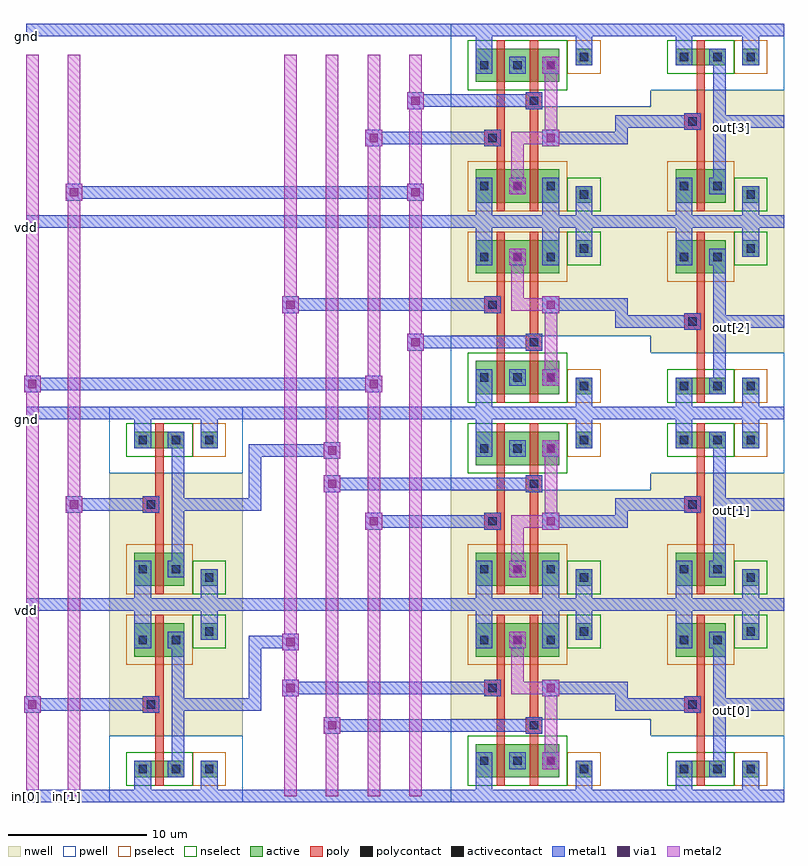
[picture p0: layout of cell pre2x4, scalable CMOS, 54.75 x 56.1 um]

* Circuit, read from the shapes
.subckt pre2x4 gnd in[0] in[1] out[0] out[1] out[2] out[3] vdd
M1 pnand2_3_32/A in[0] gnd gnd nfet w=1.2u l=0.6u
M2 pnand2_3_32/B in[1] gnd gnd nfet w=1.2u l=0.6u
M3 pnand2_3_32/nmos_m1_w2_4_a_p_13/D pnand2_3_32/A gnd gnd nfet w=2.4u l=0.6u
M4 pnand2_3_33/nmos_m1_w2_4_a_p_13/D in[0] gnd gnd nfet w=2.4u l=0.6u
M5 pnand2_3_34/nmos_m1_w2_4_a_p_13/D pnand2_3_32/A gnd gnd nfet w=2.4u l=0.6u
M6 pnand2_3_35/nmos_m1_w2_4_a_p_13/D in[0] gnd gnd nfet w=2.4u l=0.6u
M7 pinv_9_2/A pnand2_3_32/B pnand2_3_32/nmos_m1_w2_4_a_p_13/D gnd nfet w=2.4u l=0.6u
M8 pinv_9_29/A pnand2_3_32/B pnand2_3_33/nmos_m1_w2_4_a_p_13/D gnd nfet w=2.4u l=0.6u
M9 pinv_9_30/A in[1] pnand2_3_34/nmos_m1_w2_4_a_p_13/D gnd nfet w=2.4u l=0.6u
M10 pinv_9_31/A in[1] pnand2_3_35/nmos_m1_w2_4_a_p_13/D gnd nfet w=2.4u l=0.6u
M11 out[0] pinv_9_2/A gnd gnd nfet w=1.2u l=0.6u
M12 out[1] pinv_9_29/A gnd gnd nfet w=1.2u l=0.6u
M13 out[2] pinv_9_30/A gnd gnd nfet w=1.2u l=0.6u
M14 out[3] pinv_9_31/A gnd gnd nfet w=1.2u l=0.6u
M15 pnand2_3_32/A in[0] vdd vdd pfet w=2.4u l=0.6u
M16 pnand2_3_32/B in[1] vdd vdd pfet w=2.4u l=0.6u
M17 pinv_9_2/A pnand2_3_32/A vdd vdd pfet w=2.4u l=0.6u
M18 pinv_9_29/A in[0] vdd vdd pfet w=2.4u l=0.6u
M19 pinv_9_30/A pnand2_3_32/A vdd vdd pfet w=2.4u l=0.6u
M20 pinv_9_31/A in[0] vdd vdd pfet w=2.4u l=0.6u
M21 vdd pnand2_3_32/B pinv_9_2/A vdd pfet w=2.4u l=0.6u
M22 vdd pnand2_3_32/B pinv_9_29/A vdd pfet w=2.4u l=0.6u
M23 vdd in[1] pinv_9_30/A vdd pfet w=2.4u l=0.6u
M24 vdd in[1] pinv_9_31/A vdd pfet w=2.4u l=0.6u
M25 out[0] pinv_9_2/A vdd vdd pfet w=2.4u l=0.6u
M26 out[1] pinv_9_29/A vdd vdd pfet w=2.4u l=0.6u
M27 out[2] pinv_9_30/A vdd vdd pfet w=2.4u l=0.6u
M28 out[3] pinv_9_31/A vdd vdd pfet w=2.4u l=0.6u
.ends

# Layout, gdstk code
from math import pi, radians
import gdstk
lib = gdstk.Library(unit=1e-6, precision=1e-09)
def R(c, l, rs):  # rectangles x0, y0, x1, y1
    for r in rs: c.add(gdstk.rectangle(r[:2], r[2:], *l))
pwell = (41, 0)
nwell = (42, 0)
active = (43, 0)
pselect = (44, 0)
nselect = (45, 0)
poly = (46, 0)
polycontact = (47, 0)
activecontact = (48, 0)
metal1 = (49, 0)
via1 = (50, 0)
metal2 = (51, 0)

active_contact_metal1_1x = lib.new_cell('active_contact_metal1_1x1_pn')
R(active_contact_metal1_1x, nwell, [(-1.8,-1.8,3,3), (-1.8,-1.8,3,3)])
R(active_contact_metal1_1x, active, [(0,0,1.2,1.2), (0,0,1.2,1.2)])
R(active_contact_metal1_1x, pselect, [(-0.6,-0.6,1.8,1.8), (-0.6,-0.6,1.8,1.8)])
R(active_contact_metal1_1x, activecontact, [(0.3,0.3,0.9,0.9), (0.3,0.3,0.9,0.9)])
R(active_contact_metal1_1x, metal1, [(0,0,1.2,1.2), (0,0,1.2,1.2)])

pmos_m1_w2_4_a_p = lib.new_cell('pmos_m1_w2_4_a_p')
R(pmos_m1_w2_4_a_p, nwell, [(-1.8,-1.8,5.4,4.2), (-1.8,-1.8,5.4,4.2)])
R(pmos_m1_w2_4_a_p, active, [(0,0,3.6,2.4), (0,0,3.6,2.4)])
R(pmos_m1_w2_4_a_p, pselect, [(-0.6,-0.6,4.2,3), (-0.6,-0.6,4.2,3)])
R(pmos_m1_w2_4_a_p, poly, [(1.5,-0.6,2.1,3), (1.5,-0.6,2.1,3), (1.5,-0.6,2.1,3), (1.5,-0.6,2.1,3)])
R(pmos_m1_w2_4_a_p, metal1, [(0,0.6,1.2,1.8), (0,0.6,1.2,1.8), (2.4,0.6,3.6,1.8), (2.4,0.6,3.6,1.8)])
pmos_m1_w2_4_a_p.add(gdstk.Reference(active_contact_metal1_1x, (0,0.6)))
pmos_m1_w2_4_a_p.add(gdstk.Reference(active_contact_metal1_1x, (2.4,0.6)))
pmos_m1_w2_4_a_p.add(gdstk.Reference(active_contact_metal1_1x, (0,0.6)))
pmos_m1_w2_4_a_p.add(gdstk.Reference(active_contact_metal1_1x, (2.4,0.6)))
pmos_m1_w2_4_a_p.add(gdstk.Label('S', (0,0.6), layer=49, texttype=0))
pmos_m1_w2_4_a_p.add(gdstk.Label('D', (2.4,0.6), layer=49, texttype=0))
pmos_m1_w2_4_a_p.add(gdstk.Label('G', (1.5,-0.6), layer=46, texttype=0))
pmos_m1_w2_4_a_p.add(gdstk.Label('S', (0,0.6), layer=49, texttype=0))
pmos_m1_w2_4_a_p.add(gdstk.Label('D', (2.4,0.6), layer=49, texttype=0))
pmos_m1_w2_4_a_p.add(gdstk.Label('G', (1.5,-0.6), layer=46, texttype=0))

c_active_contact_metal1_1x = lib.new_cell('active_contact_metal1_1x1_np')
R(c_active_contact_metal1_1x, pwell, [(-1.8,-1.8,3,3)])
R(c_active_contact_metal1_1x, active, [(0,0,1.2,1.2)])
R(c_active_contact_metal1_1x, nselect, [(-0.6,-0.6,1.8,1.8)])
R(c_active_contact_metal1_1x, activecontact, [(0.3,0.3,0.9,0.9)])
R(c_active_contact_metal1_1x, metal1, [(0,0,1.2,1.2)])

nmos_m1_w1_2_a_p = lib.new_cell('nmos_m1_w1_2_a_p')
R(nmos_m1_w1_2_a_p, pwell, [(-1.8,-1.8,5.4,3), (-1.8,-1.8,5.4,3)])
R(nmos_m1_w1_2_a_p, active, [(0,0,3.6,1.2), (0,0,3.6,1.2)])
R(nmos_m1_w1_2_a_p, nselect, [(-0.6,-0.6,4.2,1.8), (-0.6,-0.6,4.2,1.8)])
R(nmos_m1_w1_2_a_p, poly, [(1.5,-0.6,2.1,1.8), (1.5,-0.6,2.1,1.8), (1.5,-0.6,2.1,1.8), (1.5,-0.6,2.1,1.8)])
R(nmos_m1_w1_2_a_p, metal1, [(0,0,1.2,1.2), (0,0,1.2,1.2), (2.4,0,3.6,1.2), (2.4,0,3.6,1.2)])
nmos_m1_w1_2_a_p.add(gdstk.Reference(c_active_contact_metal1_1x, (0,0)))
nmos_m1_w1_2_a_p.add(gdstk.Reference(c_active_contact_metal1_1x, (2.4,0)))
nmos_m1_w1_2_a_p.add(gdstk.Reference(c_active_contact_metal1_1x, (0,0)))
nmos_m1_w1_2_a_p.add(gdstk.Reference(c_active_contact_metal1_1x, (2.4,0)))
nmos_m1_w1_2_a_p.add(gdstk.Label('S', (0,0), layer=49, texttype=0))
nmos_m1_w1_2_a_p.add(gdstk.Label('D', (2.4,0), layer=49, texttype=0))
nmos_m1_w1_2_a_p.add(gdstk.Label('G', (1.5,-0.6), layer=46, texttype=0))
nmos_m1_w1_2_a_p.add(gdstk.Label('S', (0,0), layer=49, texttype=0))
nmos_m1_w1_2_a_p.add(gdstk.Label('D', (2.4,0), layer=49, texttype=0))
nmos_m1_w1_2_a_p.add(gdstk.Label('G', (1.5,-0.6), layer=46, texttype=0))

c_active_contact_metal1_1x_ = lib.new_cell('active_contact_metal1_1x1_nn')
R(c_active_contact_metal1_1x_, nwell, [(-1.8,-1.8,3,3), (-1.8,-1.8,3,3)])
R(c_active_contact_metal1_1x_, active, [(0,0,1.2,1.2), (0,0,1.2,1.2)])
R(c_active_contact_metal1_1x_, nselect, [(-0.6,-0.6,1.8,1.8), (-0.6,-0.6,1.8,1.8)])
R(c_active_contact_metal1_1x_, activecontact, [(0.3,0.3,0.9,0.9), (0.3,0.3,0.9,0.9)])
R(c_active_contact_metal1_1x_, metal1, [(0,0,1.2,1.2), (0,0,1.2,1.2)])

c_active_contact_metal1_1x__ = lib.new_cell('active_contact_metal1_1x1_pp')
R(c_active_contact_metal1_1x__, pwell, [(-1.8,-1.8,3,3)])
R(c_active_contact_metal1_1x__, active, [(0,0,1.2,1.2)])
R(c_active_contact_metal1_1x__, pselect, [(-0.6,-0.6,1.8,1.8)])
R(c_active_contact_metal1_1x__, activecontact, [(0.3,0.3,0.9,0.9)])
R(c_active_contact_metal1_1x__, metal1, [(0,0,1.2,1.2)])

poly_contact_metal1_1x1 = lib.new_cell('poly_contact_metal1_1x1')
R(poly_contact_metal1_1x1, poly, [(0,0,1.2,1.2), (0,0,1.2,1.2)])
R(poly_contact_metal1_1x1, polycontact, [(0.3,0.3,0.9,0.9), (0.3,0.3,0.9,0.9)])
R(poly_contact_metal1_1x1, metal1, [(0,0,1.2,1.2), (0,0,1.2,1.2)])

pinv_9 = lib.new_cell('pinv_9')
R(pinv_9, pwell, [(0,-0.45,9.6,4.35), (0,-0.45,9.6,4.35)])
R(pinv_9, nwell, [(0,4.35,9.6,14.25), (0,4.35,9.6,14.25)])
R(pinv_9, poly, [(3.3,0.75,3.9,9.45), (3.3,0.75,3.9,9.45), (3,6,3.3,7.2), (3,6,3.3,7.2)])
R(pinv_9, metal1, [(0,-0.45,9.6,0.45), (0,-0.45,9.6,0.45), (1.8,-0.45,3,1.35), (1.8,-0.45,3,1.35), (6.6,0,7.8,1.95), (6.6,0,7.8,1.95), (4.5,1.35,5.4,10.65), (4.5,1.35,5.4,10.65), (2.4,6,3.6,7.2), (2.4,6,3.6,7.2), (4.95,6.15,5.85,7.05), (4.95,6.15,5.85,7.05), (1.8,10.65,3,14.25), (1.8,10.65,3,14.25), (6.6,11.85,7.8,13.8), (6.6,11.85,7.8,13.8), (0,13.35,9.6,14.25), (0,13.35,9.6,14.25)])
pinv_9.add(gdstk.Reference(pmos_m1_w2_4_a_p, (1.8,10.05)))
pinv_9.add(gdstk.Reference(nmos_m1_w1_2_a_p, (1.8,1.35)))
pinv_9.add(gdstk.Reference(c_active_contact_metal1_1x_, (6.6,11.25)))
pinv_9.add(gdstk.Reference(c_active_contact_metal1_1x__, (6.6,1.35)))
pinv_9.add(gdstk.Reference(poly_contact_metal1_1x1, (2.4,6)))
pinv_9.add(gdstk.Reference(pmos_m1_w2_4_a_p, (1.8,10.05)))
pinv_9.add(gdstk.Reference(nmos_m1_w1_2_a_p, (1.8,1.35)))
pinv_9.add(gdstk.Reference(c_active_contact_metal1_1x_, (6.6,11.25)))
pinv_9.add(gdstk.Reference(c_active_contact_metal1_1x__, (6.6,1.35)))
pinv_9.add(gdstk.Reference(poly_contact_metal1_1x1, (2.4,6)))
pinv_9.add(gdstk.Label('A', (2.4,6), layer=49, texttype=0))
pinv_9.add(gdstk.Label('Z', (4.95,6.15), layer=49, texttype=0))
pinv_9.add(gdstk.Label('vdd', (0,13.35), layer=49, texttype=0))
pinv_9.add(gdstk.Label('gnd', (0,-0.45), layer=49, texttype=0))
pinv_9.add(gdstk.Label('A', (2.4,6), layer=49, texttype=0))
pinv_9.add(gdstk.Label('Z', (4.95,6.15), layer=49, texttype=0))
pinv_9.add(gdstk.Label('vdd', (0,13.35), layer=49, texttype=0))
pinv_9.add(gdstk.Label('gnd', (0,-0.45), layer=49, texttype=0))

nmos_m1_w2_4_a_p = lib.new_cell('nmos_m1_w2_4_a_p')
R(nmos_m1_w2_4_a_p, pwell, [(-1.8,-1.8,5.4,4.2), (-1.8,-1.8,5.4,4.2)])
R(nmos_m1_w2_4_a_p, active, [(0,0,3.6,2.4), (0,0,3.6,2.4)])
R(nmos_m1_w2_4_a_p, nselect, [(-0.6,-0.6,4.2,3), (-0.6,-0.6,4.2,3)])
R(nmos_m1_w2_4_a_p, poly, [(1.5,-0.6,2.1,3), (1.5,-0.6,2.1,3), (1.5,-0.6,2.1,3), (1.5,-0.6,2.1,3)])
R(nmos_m1_w2_4_a_p, metal1, [(0,0.6,1.2,1.8), (0,0.6,1.2,1.8), (2.4,0.6,3.6,1.8), (2.4,0.6,3.6,1.8)])
nmos_m1_w2_4_a_p.add(gdstk.Reference(c_active_contact_metal1_1x, (0,0.6)))
nmos_m1_w2_4_a_p.add(gdstk.Reference(c_active_contact_metal1_1x, (2.4,0.6)))
nmos_m1_w2_4_a_p.add(gdstk.Reference(c_active_contact_metal1_1x, (0,0.6)))
nmos_m1_w2_4_a_p.add(gdstk.Reference(c_active_contact_metal1_1x, (2.4,0.6)))
nmos_m1_w2_4_a_p.add(gdstk.Label('S', (0,0.6), layer=49, texttype=0))
nmos_m1_w2_4_a_p.add(gdstk.Label('D', (2.4,0.6), layer=49, texttype=0))
nmos_m1_w2_4_a_p.add(gdstk.Label('G', (1.5,-0.6), layer=46, texttype=0))
nmos_m1_w2_4_a_p.add(gdstk.Label('S', (0,0.6), layer=49, texttype=0))
nmos_m1_w2_4_a_p.add(gdstk.Label('D', (2.4,0.6), layer=49, texttype=0))
nmos_m1_w2_4_a_p.add(gdstk.Label('G', (1.5,-0.6), layer=46, texttype=0))

metal1_via1_metal2_1x1 = lib.new_cell('metal1_via1_metal2_1x1')
R(metal1_via1_metal2_1x1, metal1, [(0,0,1.2,1.2), (0,0,1.2,1.2)])
R(metal1_via1_metal2_1x1, via1, [(0.3,0.3,0.9,0.9), (0.3,0.3,0.9,0.9)])
R(metal1_via1_metal2_1x1, metal2, [(0,0,1.2,1.2), (0,0,1.2,1.2)])

pnand2_3 = lib.new_cell('pnand2_3')
R(pnand2_3, pwell, [(0,-0.45,14.4,5.55), (0,-0.45,14.4,5.55)])
R(pnand2_3, nwell, [(0,5.55,14.4,14.25), (0,5.55,14.4,14.25)])
R(pnand2_3, poly, [(3.3,0.75,3.9,9.45), (3.3,0.75,3.9,9.45), (5.7,0.75,6.3,9.45), (5.7,0.75,6.3,9.45), (5.7,4.5,6,5.7), (5.7,4.5,6,5.7), (3,7.2,3.3,8.4), (3,7.2,3.3,8.4)])
R(pnand2_3, metal1, [(0,-0.45,14.4,0.45), (0,-0.45,14.4,0.45), (1.8,-0.45,3,1.95), (1.8,-0.45,3,1.95), (9,0,10.2,1.95), (9,0,10.2,1.95), (5.4,4.5,6.6,5.7), (5.4,4.5,6.6,5.7), (2.4,7.2,3.6,8.4), (2.4,7.2,3.6,8.4), (6.6,7.2,7.8,8.4), (6.6,7.2,7.8,8.4), (1.8,10.65,3,14.25), (1.8,10.65,3,14.25), (6.6,10.65,7.8,14.25), (6.6,10.65,7.8,14.25), (9,11.85,10.2,13.8), (9,11.85,10.2,13.8), (0,13.35,14.4,14.25), (0,13.35,14.4,14.25)])
R(pnand2_3, metal2, [(6.75,3.15,7.65,7.8), (6.75,3.15,7.65,7.8), (4.35,7.35,5.25,8.25), (4.35,7.35,5.25,8.25), (4.8,7.35,7.2,8.25), (4.8,7.35,7.2,8.25), (6.75,7.35,7.65,8.25), (6.75,7.35,7.65,8.25), (4.35,7.8,5.25,10.65), (4.35,7.8,5.25,10.65)])
pnand2_3.add(gdstk.Reference(pmos_m1_w2_4_a_p, (1.8,10.05)))
pnand2_3.add(gdstk.Reference(pmos_m1_w2_4_a_p, (4.2,10.05)))
pnand2_3.add(gdstk.Reference(nmos_m1_w2_4_a_p, (1.8,1.35)))
pnand2_3.add(gdstk.Reference(nmos_m1_w2_4_a_p, (4.2,1.35)))
pnand2_3.add(gdstk.Reference(c_active_contact_metal1_1x_, (9,11.25)))
pnand2_3.add(gdstk.Reference(c_active_contact_metal1_1x__, (9,1.35)))
pnand2_3.add(gdstk.Reference(poly_contact_metal1_1x1, (6.6,4.5), rotation=pi/2))
pnand2_3.add(gdstk.Reference(poly_contact_metal1_1x1, (3.6,7.2), rotation=pi/2))
pnand2_3.add(gdstk.Reference(metal1_via1_metal2_1x1, (4.2,10.65)))
pnand2_3.add(gdstk.Reference(metal1_via1_metal2_1x1, (6.6,1.95)))
pnand2_3.add(gdstk.Reference(metal1_via1_metal2_1x1, (7.8,7.2), rotation=pi/2))
pnand2_3.add(gdstk.Reference(pmos_m1_w2_4_a_p, (1.8,10.05)))
pnand2_3.add(gdstk.Reference(pmos_m1_w2_4_a_p, (4.2,10.05)))
pnand2_3.add(gdstk.Reference(nmos_m1_w2_4_a_p, (1.8,1.35)))
pnand2_3.add(gdstk.Reference(nmos_m1_w2_4_a_p, (4.2,1.35)))
pnand2_3.add(gdstk.Reference(c_active_contact_metal1_1x_, (9,11.25)))
pnand2_3.add(gdstk.Reference(c_active_contact_metal1_1x__, (9,1.35)))
pnand2_3.add(gdstk.Reference(poly_contact_metal1_1x1, (6.6,4.5), rotation=pi/2))
pnand2_3.add(gdstk.Reference(poly_contact_metal1_1x1, (3.6,7.2), rotation=pi/2))
pnand2_3.add(gdstk.Reference(metal1_via1_metal2_1x1, (4.2,10.65)))
pnand2_3.add(gdstk.Reference(metal1_via1_metal2_1x1, (6.6,1.95)))
pnand2_3.add(gdstk.Reference(metal1_via1_metal2_1x1, (7.8,7.2), rotation=pi/2))
pnand2_3.add(gdstk.Label('A', (2.4,7.2), layer=49, texttype=0))
pnand2_3.add(gdstk.Label('Z', (6.6,7.2), layer=49, texttype=0))
pnand2_3.add(gdstk.Label('B', (5.4,4.5), layer=49, texttype=0))
pnand2_3.add(gdstk.Label('vdd', (0,13.35), layer=49, texttype=0))
pnand2_3.add(gdstk.Label('gnd', (0,-0.45), layer=49, texttype=0))
pnand2_3.add(gdstk.Label('A', (2.4,7.2), layer=49, texttype=0))
pnand2_3.add(gdstk.Label('Z', (6.6,7.2), layer=49, texttype=0))
pnand2_3.add(gdstk.Label('B', (5.4,4.5), layer=49, texttype=0))
pnand2_3.add(gdstk.Label('vdd', (0,13.35), layer=49, texttype=0))
pnand2_3.add(gdstk.Label('gnd', (0,-0.45), layer=49, texttype=0))

pre2x4 = lib.new_cell('pre2x4')
R(pre2x4, metal1, [(0,-0.45,54.6,0.45), (0,-0.45,54.6,0.45), (0,-0.45,54.6,0.45), (22.05,4.65,36,5.55), (22.05,4.65,36,5.55), (22.05,4.65,36,5.55), (0.45,6.15,8.4,7.05), (0.45,6.15,8.4,7.05), (0.45,6.15,8.4,7.05), (11.85,6.15,16.5,7.05), (11.85,6.15,16.5,7.05), (11.85,6.15,16.5,7.05), (16.05,6.15,16.95,7.05), (16.05,6.15,16.95,7.05), (16.05,6.15,16.95,7.05), (42.45,6.15,43.35,7.05), (42.45,6.15,43.35,7.05), (42.45,6.15,43.35,7.05), (42.9,6.15,47.4,7.05), (42.9,6.15,47.4,7.05), (42.9,6.15,47.4,7.05), (50.85,6.15,54.6,7.05), (50.85,6.15,54.6,7.05), (50.85,6.15,54.6,7.05), (16.05,6.6,16.95,11.1), (16.05,6.6,16.95,11.1), (16.05,6.6,16.95,11.1), (42.45,6.6,43.35,7.8), (42.45,6.6,43.35,7.8), (42.45,6.6,43.35,7.8), (19.05,7.35,33,8.25), (19.05,7.35,33,8.25), (19.05,7.35,33,8.25), (38.4,7.35,42.9,8.25), (38.4,7.35,42.9,8.25), (38.4,7.35,42.9,8.25), (42.45,7.35,43.35,8.25), (42.45,7.35,43.35,8.25), (42.45,7.35,43.35,8.25), (16.05,10.65,16.95,11.55), (16.05,10.65,16.95,11.55), (16.05,10.65,16.95,11.55), (16.5,10.65,19.05,11.55), (16.5,10.65,19.05,11.55), (16.5,10.65,19.05,11.55), (0,13.35,54.6,14.25), (0,13.35,54.6,14.25), (0,13.35,54.6,14.25), (25.05,19.35,33,20.25), (25.05,19.35,33,20.25), (25.05,19.35,33,20.25), (38.4,19.35,42.9,20.25), (38.4,19.35,42.9,20.25), (38.4,19.35,42.9,20.25), (42.45,19.35,43.35,20.25), (42.45,19.35,43.35,20.25), (42.45,19.35,43.35,20.25), (42.45,19.8,43.35,21), (42.45,19.8,43.35,21), (42.45,19.8,43.35,21), (3.45,20.55,8.4,21.45), (3.45,20.55,8.4,21.45), (3.45,20.55,8.4,21.45), (11.85,20.55,16.5,21.45), (11.85,20.55,16.5,21.45), (11.85,20.55,16.5,21.45), (16.05,20.55,16.95,21.45), (16.05,20.55,16.95,21.45), (16.05,20.55,16.95,21.45), (42.45,20.55,43.35,21.45), (42.45,20.55,43.35,21.45), (42.45,20.55,43.35,21.45), (42.9,20.55,47.4,21.45), (42.9,20.55,47.4,21.45), (42.9,20.55,47.4,21.45), (50.85,20.55,54.6,21.45), (50.85,20.55,54.6,21.45), (50.85,20.55,54.6,21.45), (16.05,21,16.95,24.9), (16.05,21,16.95,24.9), (16.05,21,16.95,24.9), (22.05,22.05,36,22.95), (22.05,22.05,36,22.95), (22.05,22.05,36,22.95), (16.05,24.45,16.95,25.35), (16.05,24.45,16.95,25.35), (16.05,24.45,16.95,25.35), (16.5,24.45,22.05,25.35), (16.5,24.45,22.05,25.35), (16.5,24.45,22.05,25.35), (0,27.15,54.6,28.05), (0,27.15,54.6,28.05), (0,27.15,54.6,28.05), (0.45,29.25,25.05,30.15), (0.45,29.25,25.05,30.15), (0.45,29.25,25.05,30.15), (28.05,32.25,36,33.15), (28.05,32.25,36,33.15), (28.05,32.25,36,33.15), (42.45,33.75,43.35,34.65), (42.45,33.75,43.35,34.65), (42.45,33.75,43.35,34.65), (42.9,33.75,47.4,34.65), (42.9,33.75,47.4,34.65), (42.9,33.75,47.4,34.65), (50.85,33.75,54.6,34.65), (50.85,33.75,54.6,34.65), (50.85,33.75,54.6,34.65), (42.45,34.2,43.35,35.4), (42.45,34.2,43.35,35.4), (42.45,34.2,43.35,35.4), (19.05,34.95,33,35.85), (19.05,34.95,33,35.85), (19.05,34.95,33,35.85), (38.4,34.95,42.9,35.85), (38.4,34.95,42.9,35.85), (38.4,34.95,42.9,35.85), (42.45,34.95,43.35,35.85), (42.45,34.95,43.35,35.85), (42.45,34.95,43.35,35.85), (0,40.95,54.6,41.85), (0,40.95,54.6,41.85), (0,40.95,54.6,41.85), (3.45,43.05,28.05,43.95), (3.45,43.05,28.05,43.95), (3.45,43.05,28.05,43.95), (25.05,46.95,33,47.85), (25.05,46.95,33,47.85), (25.05,46.95,33,47.85), (38.4,46.95,42.9,47.85), (38.4,46.95,42.9,47.85), (38.4,46.95,42.9,47.85), (42.45,46.95,43.35,47.85), (42.45,46.95,43.35,47.85), (42.45,46.95,43.35,47.85), (42.45,47.4,43.35,48.6), (42.45,47.4,43.35,48.6), (42.45,47.4,43.35,48.6), (42.45,48.15,43.35,49.05), (42.45,48.15,43.35,49.05), (42.45,48.15,43.35,49.05), (42.9,48.15,47.4,49.05), (42.9,48.15,47.4,49.05), (42.9,48.15,47.4,49.05), (50.85,48.15,54.6,49.05), (50.85,48.15,54.6,49.05), (50.85,48.15,54.6,49.05), (28.05,49.65,36,50.55), (28.05,49.65,36,50.55), (28.05,49.65,36,50.55), (0,54.75,54.6,55.65), (0,54.75,54.6,55.65), (0,54.75,54.6,55.65)])
R(pre2x4, metal2, [(0,0,0.9,53.4), (0,0,0.9,53.4), (0,0,0.9,53.4), (3,0,3.9,53.4), (3,0,3.9,53.4), (3,0,3.9,53.4), (18.6,0,19.5,53.4), (18.6,0,19.5,53.4), (18.6,0,19.5,53.4), (21.6,0,22.5,53.4), (21.6,0,22.5,53.4), (21.6,0,22.5,53.4), (24.6,0,25.5,53.4), (24.6,0,25.5,53.4), (24.6,0,25.5,53.4), (27.6,0,28.5,53.4), (27.6,0,28.5,53.4), (27.6,0,28.5,53.4)])
pre2x4.add(gdstk.Reference(pinv_9, (6,0)))
pre2x4.add(gdstk.Reference(pinv_9, (6,27.6), x_reflection=True))
pre2x4.add(gdstk.Reference(pinv_9, (45,0)))
pre2x4.add(gdstk.Reference(pinv_9, (45,27.6), x_reflection=True))
pre2x4.add(gdstk.Reference(pinv_9, (45,27.6)))
pre2x4.add(gdstk.Reference(pinv_9, (45,55.2), x_reflection=True))
pre2x4.add(gdstk.Reference(pnand2_3, (30.6,0)))
pre2x4.add(gdstk.Reference(pnand2_3, (30.6,27.6), x_reflection=True))
pre2x4.add(gdstk.Reference(pnand2_3, (30.6,27.6)))
pre2x4.add(gdstk.Reference(pnand2_3, (30.6,55.2), x_reflection=True))
pre2x4.add(gdstk.Reference(metal1_via1_metal2_1x1, (19.65,10.5), rotation=pi/2))
pre2x4.add(gdstk.Reference(metal1_via1_metal2_1x1, (1.05,6), rotation=pi/2))
pre2x4.add(gdstk.Reference(metal1_via1_metal2_1x1, (22.65,24.3), rotation=pi/2))
pre2x4.add(gdstk.Reference(metal1_via1_metal2_1x1, (4.05,20.4), rotation=pi/2))
pre2x4.add(gdstk.Reference(metal1_via1_metal2_1x1, (1.05,29.1), rotation=pi/2))
pre2x4.add(gdstk.Reference(metal1_via1_metal2_1x1, (25.65,29.1), rotation=pi/2))
pre2x4.add(gdstk.Reference(metal1_via1_metal2_1x1, (4.05,42.9), rotation=pi/2))
pre2x4.add(gdstk.Reference(metal1_via1_metal2_1x1, (28.65,42.9), rotation=pi/2))
pre2x4.add(gdstk.Reference(metal1_via1_metal2_1x1, (19.65,7.2), rotation=pi/2))
pre2x4.add(gdstk.Reference(metal1_via1_metal2_1x1, (22.65,4.5), rotation=pi/2))
pre2x4.add(gdstk.Reference(metal1_via1_metal2_1x1, (25.65,19.2), rotation=pi/2))
pre2x4.add(gdstk.Reference(metal1_via1_metal2_1x1, (22.65,21.9), rotation=pi/2))
pre2x4.add(gdstk.Reference(metal1_via1_metal2_1x1, (19.65,34.8), rotation=pi/2))
pre2x4.add(gdstk.Reference(metal1_via1_metal2_1x1, (28.65,32.1), rotation=pi/2))
pre2x4.add(gdstk.Reference(metal1_via1_metal2_1x1, (25.65,46.8), rotation=pi/2))
pre2x4.add(gdstk.Reference(metal1_via1_metal2_1x1, (28.65,49.5), rotation=pi/2))
pre2x4.add(gdstk.Reference(pinv_9, (6,0)))
pre2x4.add(gdstk.Reference(pinv_9, (6,27.6), x_reflection=True))
pre2x4.add(gdstk.Reference(pinv_9, (45,0)))
pre2x4.add(gdstk.Reference(pinv_9, (45,27.6), x_reflection=True))
pre2x4.add(gdstk.Reference(pinv_9, (45,27.6)))
pre2x4.add(gdstk.Reference(pinv_9, (45,55.2), x_reflection=True))
pre2x4.add(gdstk.Reference(pnand2_3, (30.6,0)))
pre2x4.add(gdstk.Reference(pnand2_3, (30.6,27.6), x_reflection=True))
pre2x4.add(gdstk.Reference(pnand2_3, (30.6,27.6)))
pre2x4.add(gdstk.Reference(pnand2_3, (30.6,55.2), x_reflection=True))
pre2x4.add(gdstk.Reference(metal1_via1_metal2_1x1, (19.65,10.5), rotation=pi/2))
pre2x4.add(gdstk.Reference(metal1_via1_metal2_1x1, (1.05,6), rotation=pi/2))
pre2x4.add(gdstk.Reference(metal1_via1_metal2_1x1, (22.65,24.3), rotation=pi/2))
pre2x4.add(gdstk.Reference(metal1_via1_metal2_1x1, (4.05,20.4), rotation=pi/2))
pre2x4.add(gdstk.Reference(metal1_via1_metal2_1x1, (1.05,29.1), rotation=pi/2))
pre2x4.add(gdstk.Reference(metal1_via1_metal2_1x1, (25.65,29.1), rotation=pi/2))
pre2x4.add(gdstk.Reference(metal1_via1_metal2_1x1, (4.05,42.9), rotation=pi/2))
pre2x4.add(gdstk.Reference(metal1_via1_metal2_1x1, (28.65,42.9), rotation=pi/2))
pre2x4.add(gdstk.Reference(metal1_via1_metal2_1x1, (19.65,7.2), rotation=pi/2))
pre2x4.add(gdstk.Reference(metal1_via1_metal2_1x1, (22.65,4.5), rotation=pi/2))
pre2x4.add(gdstk.Reference(metal1_via1_metal2_1x1, (25.65,19.2), rotation=pi/2))
pre2x4.add(gdstk.Reference(metal1_via1_metal2_1x1, (22.65,21.9), rotation=pi/2))
pre2x4.add(gdstk.Reference(metal1_via1_metal2_1x1, (19.65,34.8), rotation=pi/2))
pre2x4.add(gdstk.Reference(metal1_via1_metal2_1x1, (28.65,32.1), rotation=pi/2))
pre2x4.add(gdstk.Reference(metal1_via1_metal2_1x1, (25.65,46.8), rotation=pi/2))
pre2x4.add(gdstk.Reference(metal1_via1_metal2_1x1, (28.65,49.5), rotation=pi/2))
pre2x4.add(gdstk.Reference(pinv_9, (6,0)))
pre2x4.add(gdstk.Reference(pinv_9, (6,27.6), x_reflection=True))
pre2x4.add(gdstk.Reference(pinv_9, (45,0)))
pre2x4.add(gdstk.Reference(pinv_9, (45,27.6), x_reflection=True))
pre2x4.add(gdstk.Reference(pinv_9, (45,27.6)))
pre2x4.add(gdstk.Reference(pinv_9, (45,55.2), x_reflection=True))
pre2x4.add(gdstk.Reference(pnand2_3, (30.6,0)))
pre2x4.add(gdstk.Reference(pnand2_3, (30.6,27.6), x_reflection=True))
pre2x4.add(gdstk.Reference(pnand2_3, (30.6,27.6)))
pre2x4.add(gdstk.Reference(pnand2_3, (30.6,55.2), x_reflection=True))
pre2x4.add(gdstk.Reference(metal1_via1_metal2_1x1, (19.65,10.5), rotation=pi/2))
pre2x4.add(gdstk.Reference(metal1_via1_metal2_1x1, (1.05,6), rotation=pi/2))
pre2x4.add(gdstk.Reference(metal1_via1_metal2_1x1, (22.65,24.3), rotation=pi/2))
pre2x4.add(gdstk.Reference(metal1_via1_metal2_1x1, (4.05,20.4), rotation=pi/2))
pre2x4.add(gdstk.Reference(metal1_via1_metal2_1x1, (1.05,29.1), rotation=pi/2))
pre2x4.add(gdstk.Reference(metal1_via1_metal2_1x1, (25.65,29.1), rotation=pi/2))
pre2x4.add(gdstk.Reference(metal1_via1_metal2_1x1, (4.05,42.9), rotation=pi/2))
pre2x4.add(gdstk.Reference(metal1_via1_metal2_1x1, (28.65,42.9), rotation=pi/2))
pre2x4.add(gdstk.Reference(metal1_via1_metal2_1x1, (19.65,7.2), rotation=pi/2))
pre2x4.add(gdstk.Reference(metal1_via1_metal2_1x1, (22.65,4.5), rotation=pi/2))
pre2x4.add(gdstk.Reference(metal1_via1_metal2_1x1, (25.65,19.2), rotation=pi/2))
pre2x4.add(gdstk.Reference(metal1_via1_metal2_1x1, (22.65,21.9), rotation=pi/2))
pre2x4.add(gdstk.Reference(metal1_via1_metal2_1x1, (19.65,34.8), rotation=pi/2))
pre2x4.add(gdstk.Reference(metal1_via1_metal2_1x1, (28.65,32.1), rotation=pi/2))
pre2x4.add(gdstk.Reference(metal1_via1_metal2_1x1, (25.65,46.8), rotation=pi/2))
pre2x4.add(gdstk.Reference(metal1_via1_metal2_1x1, (28.65,49.5), rotation=pi/2))
pre2x4.add(gdstk.Label('out[3]', (50.85,48.15), layer=49, texttype=0))
pre2x4.add(gdstk.Label('out[2]', (50.85,33.75), layer=49, texttype=0))
pre2x4.add(gdstk.Label('in[0]', (0,0), layer=51, texttype=0))
pre2x4.add(gdstk.Label('out[0]', (50.85,6.15), layer=49, texttype=0))
pre2x4.add(gdstk.Label('out[1]', (50.85,20.55), layer=49, texttype=0))
pre2x4.add(gdstk.Label('vdd', (0,13.35), layer=49, texttype=0))
pre2x4.add(gdstk.Label('vdd', (0,40.95), layer=49, texttype=0))
pre2x4.add(gdstk.Label('gnd', (0,-0.45), layer=49, texttype=0))
pre2x4.add(gdstk.Label('gnd', (0,27.15), layer=49, texttype=0))
pre2x4.add(gdstk.Label('gnd', (0,54.75), layer=49, texttype=0))
pre2x4.add(gdstk.Label('in[1]', (3,0), layer=51, texttype=0))
pre2x4.add(gdstk.Label('out[3]', (50.85,48.15), layer=49, texttype=0))
pre2x4.add(gdstk.Label('out[2]', (50.85,33.75), layer=49, texttype=0))
pre2x4.add(gdstk.Label('in[0]', (0,0), layer=51, texttype=0))
pre2x4.add(gdstk.Label('out[0]', (50.85,6.15), layer=49, texttype=0))
pre2x4.add(gdstk.Label('out[1]', (50.85,20.55), layer=49, texttype=0))
pre2x4.add(gdstk.Label('vdd', (0,13.35), layer=49, texttype=0))
pre2x4.add(gdstk.Label('vdd', (0,40.95), layer=49, texttype=0))
pre2x4.add(gdstk.Label('gnd', (0,-0.45), layer=49, texttype=0))
pre2x4.add(gdstk.Label('gnd', (0,27.15), layer=49, texttype=0))
pre2x4.add(gdstk.Label('gnd', (0,54.75), layer=49, texttype=0))
pre2x4.add(gdstk.Label('in[1]', (3,0), layer=51, texttype=0))
pre2x4.add(gdstk.Label('out[3]', (50.85,48.15), layer=49, texttype=0))
pre2x4.add(gdstk.Label('out[2]', (50.85,33.75), layer=49, texttype=0))
pre2x4.add(gdstk.Label('in[0]', (0,0), layer=51, texttype=0))
pre2x4.add(gdstk.Label('out[0]', (50.85,6.15), layer=49, texttype=0))
pre2x4.add(gdstk.Label('out[1]', (50.85,20.55), layer=49, texttype=0))
pre2x4.add(gdstk.Label('vdd', (0,13.35), layer=49, texttype=0))
pre2x4.add(gdstk.Label('vdd', (0,40.95), layer=49, texttype=0))
pre2x4.add(gdstk.Label('gnd', (0,-0.45), layer=49, texttype=0))
pre2x4.add(gdstk.Label('gnd', (0,27.15), layer=49, texttype=0))
pre2x4.add(gdstk.Label('gnd', (0,54.75), layer=49, texttype=0))
pre2x4.add(gdstk.Label('in[1]', (3,0), layer=51, texttype=0))

lib.write_gds('pre2x4.gds')
